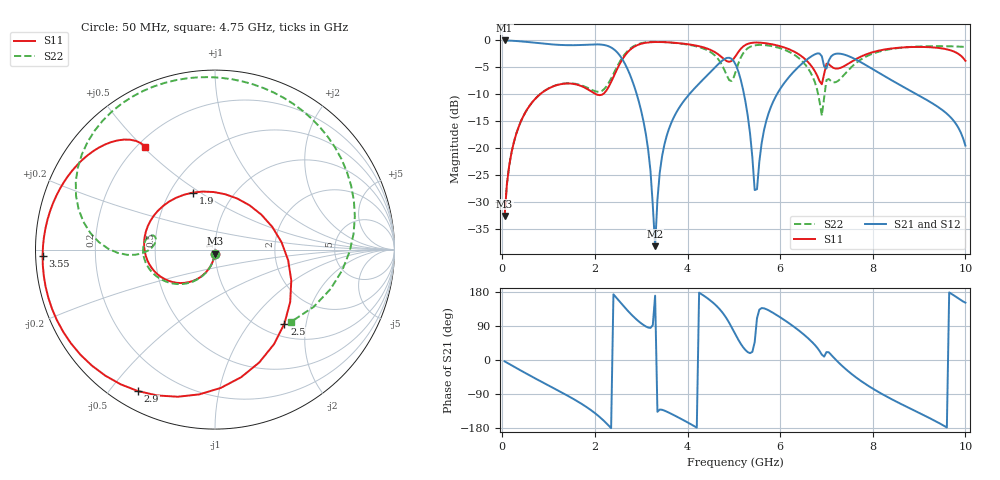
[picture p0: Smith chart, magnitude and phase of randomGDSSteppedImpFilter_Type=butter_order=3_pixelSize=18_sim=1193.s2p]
! freq	dB(S11)	phase(S11)	dB(S12)	phase(S12)
!  dB(S21)	phase(S21)	dB(S22)	phase(S22)
!S-par simulation data
#  GHz  S  DB  R 50
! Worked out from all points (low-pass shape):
!   200 points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, 50 MHz to 10 GHz, reference 50 ohm
!   highest |S21| = -0.01 dB at 50 MHz (marker M1); lowest = -38.2 dB at 3.3 GHz (marker M2)
!   |S21| within 3 dB of the highest: start of sweep to 2.555 GHz; 7.098 GHz to 7.504 GHz (406.6 MHz wide, 5.57 % of centre) (the widest 2 of 3)
!   lowest |S11| = -32.6 dB at 50 MHz (marker M3), VSWR 1.05, Z = 49.8 - j2.33 ohm
!   |S11| at or under -10 dB: start of sweep to 815.1 MHz; 2.032 GHz to 2.165 GHz (133.6 MHz wide, 6.37 % of centre)
!   |S22| runs from -32.6 to -0.3 dB; largest |S21 - S12| = 0
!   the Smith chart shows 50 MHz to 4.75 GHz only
!   S11 on the Smith chart (normalised r, x): 50 MHz: 1.00, -0.05; 1.9 GHz: 0.65, +0.47; 2.5 GHz: 1.25, -1.51; 2.9 GHz: 0.07, -0.59; 3.55 GHz: 0.02, -0.02; 4.75 GHz: 0.23, +0.51
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0.05  -32.60 -93.4  -0.01 -3.6  -0.01 -3.6  -32.60 -93.3
0.55  -12.62 -129.0  -0.30 -37.9  -0.30 -37.9  -12.62 -127.8
1.75  -8.64 133.6  -0.83 -118.6  -0.83 -118.6  -8.46 169.1
1.9  -9.36 111.1  -0.77 -131.0  -0.77 -131.0  -9.04 167.1
2.5  -4.95 -46.9  -2.40 159.3  -2.40 159.3  -4.52 179.6
2.9  -0.94 -118.6  -9.89 106.8  -9.89 106.8  -0.80 144.5
3.3  -0.30 -160.0  -38.18 169.7  -38.18 169.7  -0.26 110.6
3.4  -0.30 -167.7  -24.55 -130.7  -24.55 -130.7  -0.27 102.9
3.55  -0.34 -178.0  -17.70 -136.1  -17.70 -136.1  -0.34 91.8
4.35  -1.30 138.6  -7.13 169.8  -7.13 169.8  -1.53 25.3
4.75  -3.20 124.2  -3.75 125.8  -3.75 125.8  -4.67 -43.8
5.05  -2.75 134.0  -4.69 63.9  -4.69 63.9  -5.51 157.0
5.2  -1.14 126.8  -9.16 33.8  -9.16 33.8  -2.40 98.3
5.45  -0.40 109.1  -27.77 47.0  -27.77 47.0  -0.92 45.6
5.7  -0.54 93.7  -14.93 134.1  -14.93 134.1  -0.90 12.5
6.25  -1.86 63.3  -6.21 92.0  -6.21 92.0  -2.38 -48.4
6.7  -5.05 43.0  -2.82 46.1  -2.82 46.1  -6.69 -112.5
7.1  -4.81 50.4  -2.97 14.0  -2.97 14.0  -7.55 169.0
7.45  -4.43 48.9  -2.82 -27.6  -2.82 -27.6  -5.74 69.0
8.35  -1.56 6.1  -7.11 -99.7  -7.11 -99.7  -1.67 -28.5
9.5  -1.49 -68.7  -12.90 -171.0  -12.90 -171.0  -1.07 -96.9
10  -3.77 -134.0  -19.52 151.3  -19.52 151.3  -1.21 -128.7
